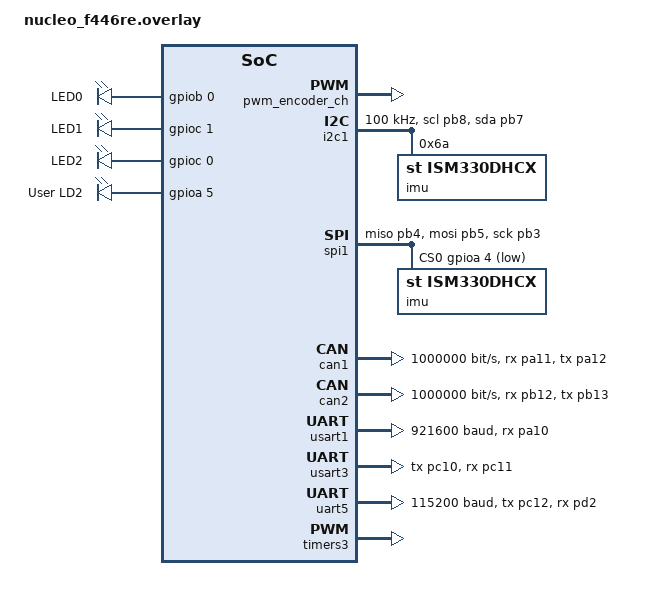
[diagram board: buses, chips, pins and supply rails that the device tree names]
&i2c1 {
    pinctrl-0 = <&i2c1_scl_pb8 &i2c1_sda_pb7>;
    pinctrl-names = "default";
    status = "okay";
    clock-frequency = <100000>;

	scl-gpios = <&gpiob 8 (GPIO_ACTIVE_HIGH | GPIO_OPEN_DRAIN)>;
	sda-gpios = <&gpiob 7 (GPIO_ACTIVE_HIGH | GPIO_OPEN_DRAIN)>;


    imu: ism330@6a {
        compatible = "st,ism330dhcx";
        reg = <0x6a>;
    };
};

&spi1 {
    pinctrl-0 = <&spi1_miso_pb4 &spi1_mosi_pb5 &spi1_sck_pb3>;
    pinctrl-names = "default";
    status = "okay";
    spi-max-frequency = <1000000>;

    cs-gpios = <&gpioa 4 GPIO_ACTIVE_LOW>; // CS connected to pa 4?

    dmas = <&dma2 5 3 STM32_DMA_PERIPH_TX STM32_DMA_FIFO_FULL>,
           <&dma2 2 3 STM32_DMA_PERIPH_RX STM32_DMA_FIFO_FULL>;

    dma-names = "tx", "rx";

    imu: ism330@6a {
        compatible = "st,ism330dhcx";
        reg = <0>;
    }
};

&can1 {
    pinctrl-0 = <&can1_rx_pa11 &can1_tx_pa12>;
    pinctrl-names = "default";
    status = "okay";
    bitrate = <1000000>;
};

&can2 {
    pinctrl-0 = <&can2_rx_pb12 &can2_tx_pb13>;
    pinctrl-names = "default";
    status = "okay";
    bitrate = <1000000>;
};

&usart1 { //Controller
    pinctrl-0 = <&usart1_rx_pa10>; // tx isn't connected because this is the controller
    pinctrl-names = "default";
    status = "okay";
    current-speed = <921600>;
};

&usart3 { //Ref
    pinctrl-0 = <&usart3_tx_pc10 &usart3_rx_pc11>;
    pinctrl-names = "default";
    status = "okay";
};

&uart5 {
    pinctrl-0 = <&uart5_tx_pc12 &uart5_rx_pd2>;
    pinctrl-names = "default";
    status = "okay";
    current-speed = <115200>;
};

&timers3 { // Encoder | PWM is done thru timer node, PB_4 is timer3 channel 1
    status = "okay";
    st,prescaler = <83>;   // tune below

    pwm3: pwm {
        compatible = "st,stm32-pwm";
        status = "okay";
        pinctrl-0 = <&tim3_ch1_pb4>;
        pinctrl-names = "default";
        #pwm-cells = <3>;
    };
};

/ {
    pwm_encoder_ch: zephyr,user { //Node has to be named "zephyr,user" so it compiles
        pwms = <&pwm3 1 PWM_MSEC(20) PWM_POLARITY_NORMAL>;
        status = "okay";
    };
};


/* The sigular slash below indicates that we're just making a new node
Unlike the ones above, which were already declared for us in the
root dts file Zephyr has for us, this LED node is specific to us */
/ {
    leds {
        compatible = "gpio-leds";
        led0: led_0 {
            gpios = <&gpiob 0 GPIO_ACTIVE_HIGH>;
            label = "LED0";
        };
        led1: led_1 {
            gpios = <&gpioc 1 GPIO_ACTIVE_HIGH>;
            label = "LED1";
        };
        led2: led_2 {
            gpios = <&gpioc 0 GPIO_ACTIVE_HIGH>;
            label = "LED2";
        };

        LD2: LD_2 {
            gpios = <&gpioa 5 GPIO_ACTIVE_HIGH>;
            label = "User LD2";
        };
    };

    aliases {
        //Left hand side lives in a diff namespace than right hand side
        //So this doesn't break everything I swear
        led0 = &led0;
        led1 = &led1;
        led2 = &led2;
    };
};

  &gpiob {
       status = "okay";
   };

   &gpioc {
       status = "okay";
   };
